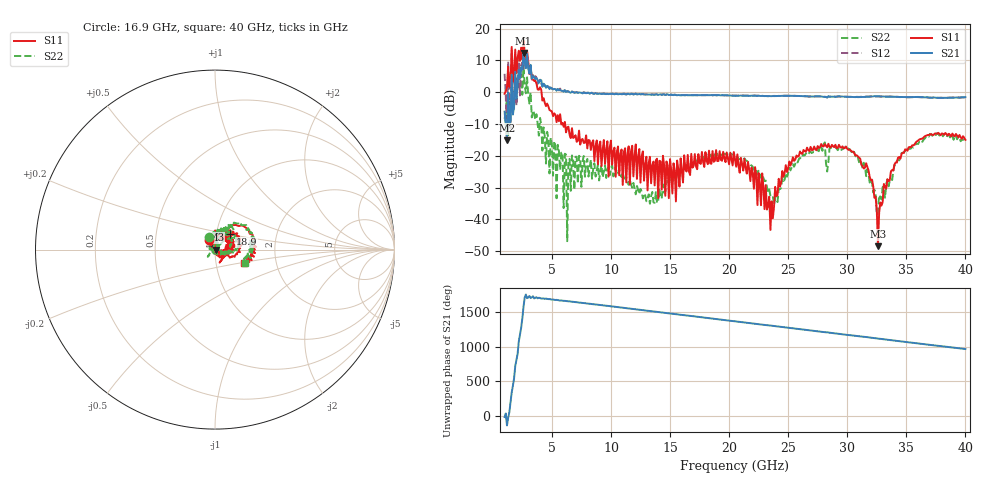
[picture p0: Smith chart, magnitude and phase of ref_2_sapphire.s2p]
!Keysight Technologies,N5224A,MY55441802,A.10.65.16
!Date: Wednesday, May 13, 2026 18:20:38
!Correction: S11(Full 2 Port(1,2))
!S21(Full 2 Port(1,2))
!S12(Full 2 Port(1,2))
!S22(Full 2 Port(1,2))
!S2P File: Measurements: S11, S21, S12, S22:
# Hz S  dB  R 50
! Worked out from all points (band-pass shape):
!   391 points, 1 GHz to 40 GHz, reference 50 ohm
!   highest |S21| = 12.38 dB at 2.6 GHz (marker M1); lowest = -15.1 dB at 1.2 GHz (marker M2)
!   |S21| within 3 dB of the highest: 2.544 GHz to 2.702 GHz (158.6 MHz wide, 6.05 % of centre); 2.84 GHz to 2.958 GHz (118.6 MHz wide, 4.09 % of centre)
!   lowest |S11| = -48.4 dB at 32.6 GHz (marker M3), VSWR 1.01, Z = 50.4 + j0.0486 ohm
!   |S11| at or under -10 dB: 5.79618 GHz to 5.825257 GHz (29.08 MHz wide, 0.5 % of centre); 5.93 GHz to 6.056 GHz (125.9 MHz wide, 2.1 % of centre); 6.121 GHz to end of sweep
!   |S22| runs from -46.8 to 7.9 dB; largest |S21 - S12| = 2.7
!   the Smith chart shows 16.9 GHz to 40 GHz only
!   S11 on the Smith chart (normalised r, x): 16.9 GHz: 0.93, +0.10; 18.9 GHz: 1.17, +0.21; 40 GHz: 1.36, -0.22
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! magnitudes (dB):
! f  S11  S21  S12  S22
! 1 GHz  -0.5  -6.1  5.8  -8.3
! 1.2 GHz  1.5  -15.1  -14.9  -0.9
! 1.3 GHz  8.1  -0.1  9.7  -13.5
! 1.5 GHz  3.3  -9.5  -11.3  -1.0
! 1.6 GHz  14.2  5.5  13.2  -3.6
! 1.8 GHz  6.2  -4.7  -5.1  0.3
! 2.6 GHz  16.3  12.4  7.5  7.9
! 5.4 GHz  -9.4  0.5  0.9  -33.3
! 6.2 GHz  -12.6  0.1  0.2  -19.6
! 6.3 GHz  -11.0  0.3  0.4  -46.8
! 6.4 GHz  -10.8  0.3  0.3  -21.6
! 7.5 GHz  -14.9  -0.2  -0.1  -29.7
! 14 GHz  -33.3  -0.8  -0.8  -34.1
! 16.9 GHz  -23.7  -1.0  -0.9  -22.3
! 18.9 GHz  -18.2  -0.9  -0.9  -19.0
! 20.5 GHz  -21.1  -1.1  -1.1  -20.2
! 23.5 GHz  -43.3  -1.2  -1.2  -32.7
! 27 GHz  -18.2  -1.3  -1.3  -19.1
! 31.6 GHz  -22.3  -1.4  -1.4  -26.4
! 32.6 GHz  -48.4  -1.3  -1.3  -37.5
! 33.5 GHz  -28.0  -1.4  -1.4  -29.6
! 40 GHz  -15.0  -1.5  -1.6  -14.7
